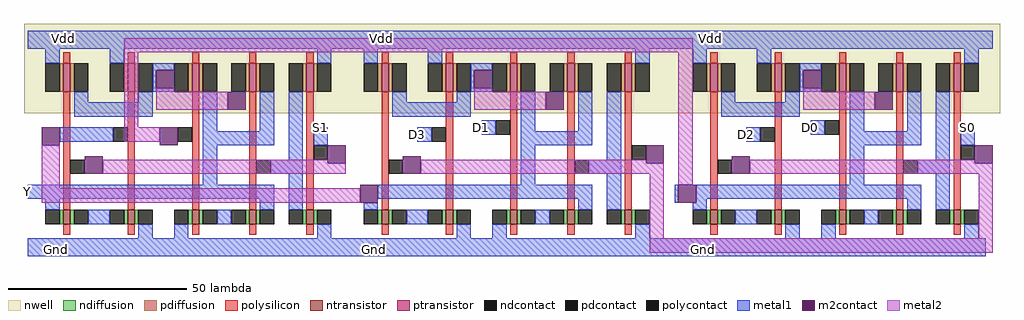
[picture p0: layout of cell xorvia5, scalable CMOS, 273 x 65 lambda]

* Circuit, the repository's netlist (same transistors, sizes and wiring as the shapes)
* SPICE3 file created from xorvia5.ext - technology: scmos

.option scale=0.12u

M1000 Vdd S0 a_419_n126# w_175_n92# pfet w=8 l=2
+  ad=40p pd=26u as=40p ps=26u
M1001 Gnd a_200_n100# a_188_n123# Gnd nfet w=4 l=2
+  ad=20p pd=18u as=20p ps=18u
M1002 a_369_n86# D2 Vdd w_175_n92# pfet w=8 l=2
+  ad=40p pd=26u as=40p ps=26u
M1003 Y a_238_n126# a_224_n123# Gnd nfet w=4 l=2
+  ad=20p pd=18u as=20p ps=18u
M1004 Gnd D2 a_369_n123# Gnd nfet w=4 l=2
+  ad=20p pd=18u as=20p ps=18u
M1005 a_200_n100# D1 a_277_n86# w_175_n92# pfet w=8 l=2
+  ad=40p pd=26u as=40p ps=26u
M1006 Y a_238_n126# a_188_n86# w_175_n92# pfet w=8 l=2
+  ad=40p pd=26u as=40p ps=26u
M1007 a_188_n86# a_200_n100# Vdd w_175_n92# pfet w=8 l=2
+  ad=40p pd=26u as=40p ps=26u
M1008 a_369_n123# S0 a_218_n100# Gnd nfet w=4 l=2
+  ad=20p pd=18u as=20p ps=18u
M1009 a_313_n123# D1 Gnd Gnd nfet w=4 l=2
+  ad=20p pd=18u as=20p ps=18u
M1010 a_218_n100# a_419_n126# a_369_n86# w_175_n92# pfet w=8 l=2
+  ad=40p pd=26u as=40p ps=26u
M1011 a_188_n123# S1 Y Gnd nfet w=4 l=2
+  ad=20p pd=18u as=20p ps=18u
M1012 Y a_218_n100# a_188_n86# w_175_n92# pfet w=8 l=2
+  ad=40p pd=26u as=40p ps=26u
M1013 Gnd S0 a_419_n126# Gnd nfet w=4 l=2
+  ad=20p pd=18u as=20p ps=18u
M1014 a_200_n100# a_327_n126# a_313_n123# Gnd nfet w=4 l=2
+  ad=20p pd=18u as=20p ps=18u
M1015 a_218_n100# D0 a_369_n86# w_175_n92# pfet w=8 l=2
+  ad=40p pd=26u as=40p ps=26u
M1016 Gnd S1 a_238_n126# Gnd nfet w=4 l=2
+  ad=20p pd=18u as=20p ps=18u
M1017 Gnd D3 a_277_n123# Gnd nfet w=4 l=2
+  ad=20p pd=18u as=20p ps=18u
M1018 a_277_n86# S0 Vdd w_175_n92# pfet w=8 l=2
+  ad=40p pd=26u as=40p ps=26u
M1019 a_277_n123# S0 a_200_n100# Gnd nfet w=4 l=2
+  ad=20p pd=18u as=20p ps=18u
M1020 Vdd S0 a_327_n126# w_175_n92# pfet w=8 l=2
+  ad=40p pd=26u as=40p ps=26u
M1021 a_277_n86# D3 Vdd w_175_n92# pfet w=8 l=2
+  ad=40p pd=26u as=40p ps=26u
M1022 a_405_n123# D0 Gnd Gnd nfet w=4 l=2
+  ad=20p pd=18u as=20p ps=18u
M1023 a_188_n86# S1 Vdd w_175_n92# pfet w=8 l=2
+  ad=40p pd=26u as=40p ps=26u
M1024 Gnd S0 a_327_n126# Gnd nfet w=4 l=2
+  ad=20p pd=18u as=20p ps=18u
M1025 a_369_n86# S0 Vdd w_175_n92# pfet w=8 l=2
+  ad=40p pd=26u as=40p ps=26u
M1026 a_224_n123# a_218_n100# Gnd Gnd nfet w=4 l=2
+  ad=20p pd=18u as=20p ps=18u
M1027 Vdd S1 a_238_n126# w_175_n92# pfet w=8 l=2
+  ad=40p pd=26u as=40p ps=26u
M1028 a_200_n100# a_327_n126# a_277_n86# w_175_n92# pfet w=8 l=2
+  ad=40p pd=26u as=40p ps=26u
M1029 a_218_n100# a_419_n126# a_405_n123# Gnd nfet w=4 l=2
+  ad=20p pd=18u as=20p ps=18u


.include tsmc_cmos025

Vs Vdd Gnd 2.5V

Vin1 S0 Gnd PULSE(0, 2.5, 200p, 400p, 400p, 800p, 1600p)
Vin2 D0 Gnd PULSE(0, 0, 200p, 400p, 400p, 800p, 1600p)
Vin3 D1 Gnd PULSE(0, 2.5, 200p, 400p, 400p, 800p, 1600p)

Vin4 S1 Gnd PULSE(0, 2.5, 200p, 400p, 400p, 800p, 1600p)
Vin5 D2 Gnd PULSE(0, 0, 200p, 400p, 400p, 800p, 1600p)
Vin6 D3 Gnd PULSE(0, 2.5, 200p, 400p, 400p, 800p, 1600p)



.TRAN 1p 1600p
.OPTIONS

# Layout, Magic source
magic
tech scmos
<< nwell >>
rect 175 -92 448 -67
<< ntransistor >>
rect 186 -123 188 -119
rect 204 -123 206 -119
rect 222 -123 224 -119
rect 238 -123 240 -119
rect 254 -123 256 -119
rect 275 -123 277 -119
rect 293 -123 295 -119
rect 311 -123 313 -119
rect 327 -123 329 -119
rect 343 -123 345 -119
rect 367 -123 369 -119
rect 385 -123 387 -119
rect 403 -123 405 -119
rect 419 -123 421 -119
rect 435 -123 437 -119
<< ptransistor >>
rect 186 -86 188 -78
rect 204 -86 206 -78
rect 222 -86 224 -78
rect 238 -86 240 -78
rect 254 -86 256 -78
rect 275 -86 277 -78
rect 293 -86 295 -78
rect 311 -86 313 -78
rect 327 -86 329 -78
rect 343 -86 345 -78
rect 367 -86 369 -78
rect 385 -86 387 -78
rect 403 -86 405 -78
rect 419 -86 421 -78
rect 435 -86 437 -78
<< ndiffusion >>
rect 185 -123 186 -119
rect 188 -123 189 -119
rect 203 -123 204 -119
rect 206 -123 207 -119
rect 221 -123 222 -119
rect 224 -123 225 -119
rect 237 -123 238 -119
rect 240 -123 241 -119
rect 253 -123 254 -119
rect 256 -123 257 -119
rect 274 -123 275 -119
rect 277 -123 278 -119
rect 292 -123 293 -119
rect 295 -123 296 -119
rect 310 -123 311 -119
rect 313 -123 314 -119
rect 326 -123 327 -119
rect 329 -123 330 -119
rect 342 -123 343 -119
rect 345 -123 346 -119
rect 366 -123 367 -119
rect 369 -123 370 -119
rect 384 -123 385 -119
rect 387 -123 388 -119
rect 402 -123 403 -119
rect 405 -123 406 -119
rect 418 -123 419 -119
rect 421 -123 422 -119
rect 434 -123 435 -119
rect 437 -123 438 -119
<< pdiffusion >>
rect 185 -86 186 -78
rect 188 -86 189 -78
rect 203 -86 204 -78
rect 206 -86 207 -78
rect 221 -86 222 -78
rect 224 -86 225 -78
rect 237 -86 238 -78
rect 240 -86 241 -78
rect 253 -86 254 -78
rect 256 -86 257 -78
rect 274 -86 275 -78
rect 277 -86 278 -78
rect 292 -86 293 -78
rect 295 -86 296 -78
rect 310 -86 311 -78
rect 313 -86 314 -78
rect 326 -86 327 -78
rect 329 -86 330 -78
rect 342 -86 343 -78
rect 345 -86 346 -78
rect 366 -86 367 -78
rect 369 -86 370 -78
rect 384 -86 385 -78
rect 387 -86 388 -78
rect 402 -86 403 -78
rect 405 -86 406 -78
rect 418 -86 419 -78
rect 421 -86 422 -78
rect 434 -86 435 -78
rect 437 -86 438 -78
<< ndcontact >>
rect 181 -123 185 -119
rect 189 -123 193 -119
rect 199 -123 203 -119
rect 207 -123 211 -119
rect 217 -123 221 -119
rect 225 -123 229 -119
rect 233 -123 237 -119
rect 241 -123 245 -119
rect 249 -123 253 -119
rect 257 -123 261 -119
rect 270 -123 274 -119
rect 278 -123 282 -119
rect 288 -123 292 -119
rect 296 -123 300 -119
rect 306 -123 310 -119
rect 314 -123 318 -119
rect 322 -123 326 -119
rect 330 -123 334 -119
rect 338 -123 342 -119
rect 346 -123 350 -119
rect 362 -123 366 -119
rect 370 -123 374 -119
rect 380 -123 384 -119
rect 388 -123 392 -119
rect 398 -123 402 -119
rect 406 -123 410 -119
rect 414 -123 418 -119
rect 422 -123 426 -119
rect 430 -123 434 -119
rect 438 -123 442 -119
<< pdcontact >>
rect 181 -86 185 -78
rect 189 -86 193 -78
rect 199 -86 203 -78
rect 207 -86 211 -78
rect 217 -86 221 -78
rect 225 -86 229 -78
rect 233 -86 237 -78
rect 241 -86 245 -78
rect 249 -86 253 -78
rect 257 -86 261 -78
rect 270 -86 274 -78
rect 278 -86 282 -78
rect 288 -86 292 -78
rect 296 -86 300 -78
rect 306 -86 310 -78
rect 314 -86 318 -78
rect 322 -86 326 -78
rect 330 -86 334 -78
rect 338 -86 342 -78
rect 346 -86 350 -78
rect 362 -86 366 -78
rect 370 -86 374 -78
rect 380 -86 384 -78
rect 388 -86 392 -78
rect 398 -86 402 -78
rect 406 -86 410 -78
rect 414 -86 418 -78
rect 422 -86 426 -78
rect 430 -86 434 -78
rect 438 -86 442 -78
<< polysilicon >>
rect 186 -78 188 -75
rect 204 -78 206 -75
rect 222 -78 224 -75
rect 238 -78 240 -75
rect 254 -78 256 -75
rect 275 -78 277 -75
rect 293 -78 295 -75
rect 311 -78 313 -75
rect 327 -78 329 -75
rect 343 -78 345 -75
rect 367 -78 369 -75
rect 385 -78 387 -75
rect 403 -78 405 -75
rect 419 -78 421 -75
rect 435 -78 437 -75
rect 186 -119 188 -86
rect 204 -119 206 -86
rect 222 -119 224 -86
rect 238 -119 240 -86
rect 254 -119 256 -86
rect 275 -119 277 -86
rect 293 -119 295 -86
rect 311 -119 313 -86
rect 327 -119 329 -86
rect 343 -119 345 -86
rect 367 -119 369 -86
rect 385 -119 387 -86
rect 403 -119 405 -86
rect 419 -119 421 -86
rect 435 -119 437 -86
rect 186 -126 188 -123
rect 204 -126 206 -123
rect 222 -126 224 -123
rect 238 -126 240 -123
rect 254 -126 256 -123
rect 275 -126 277 -123
rect 293 -126 295 -123
rect 311 -126 313 -123
rect 327 -126 329 -123
rect 343 -126 345 -123
rect 367 -126 369 -123
rect 385 -126 387 -123
rect 403 -126 405 -123
rect 419 -126 421 -123
rect 435 -126 437 -123
<< polycontact >>
rect 200 -100 204 -96
rect 188 -109 192 -105
rect 218 -100 222 -96
rect 240 -109 244 -105
rect 256 -105 260 -101
rect 289 -100 293 -96
rect 277 -109 281 -105
rect 307 -98 311 -94
rect 329 -109 333 -105
rect 345 -105 349 -101
rect 381 -100 385 -96
rect 369 -109 373 -105
rect 399 -98 403 -94
rect 421 -109 425 -105
rect 437 -105 441 -101
<< metal1 >>
rect 176 -74 446 -69
rect 181 -78 185 -74
rect 199 -78 203 -74
rect 257 -78 261 -74
rect 211 -80 217 -78
rect 211 -85 212 -80
rect 211 -86 217 -85
rect 189 -89 193 -86
rect 207 -89 211 -86
rect 189 -93 211 -89
rect 185 -100 200 -96
rect 225 -97 229 -86
rect 241 -97 245 -86
rect 225 -101 245 -97
rect 270 -78 274 -74
rect 288 -78 292 -74
rect 346 -78 350 -74
rect 300 -80 306 -78
rect 300 -85 301 -80
rect 300 -86 306 -85
rect 225 -112 229 -101
rect 249 -105 253 -86
rect 278 -89 282 -86
rect 296 -89 300 -86
rect 278 -93 300 -89
rect 256 -101 260 -96
rect 285 -100 289 -96
rect 303 -98 307 -94
rect 314 -97 318 -86
rect 330 -97 334 -86
rect 314 -101 334 -97
rect 362 -78 366 -74
rect 380 -78 384 -74
rect 438 -78 442 -74
rect 392 -80 398 -78
rect 392 -85 393 -80
rect 392 -86 398 -85
rect 244 -109 253 -105
rect 176 -116 245 -112
rect 181 -119 185 -116
rect 241 -119 245 -116
rect 193 -123 199 -119
rect 207 -127 211 -123
rect 229 -123 233 -119
rect 249 -119 253 -109
rect 314 -112 318 -101
rect 338 -105 342 -86
rect 370 -89 374 -86
rect 388 -89 392 -86
rect 370 -93 392 -89
rect 377 -100 381 -96
rect 395 -98 399 -94
rect 406 -97 410 -86
rect 422 -97 426 -86
rect 406 -101 426 -97
rect 333 -109 342 -105
rect 274 -116 334 -112
rect 270 -119 274 -117
rect 330 -119 334 -116
rect 282 -123 288 -119
rect 217 -127 221 -123
rect 257 -127 261 -123
rect 296 -127 300 -123
rect 318 -123 322 -119
rect 338 -119 342 -109
rect 406 -112 410 -101
rect 430 -105 434 -86
rect 437 -101 441 -96
rect 425 -109 434 -105
rect 357 -117 358 -112
rect 363 -116 426 -112
rect 363 -117 366 -116
rect 362 -119 366 -117
rect 422 -119 426 -116
rect 374 -123 380 -119
rect 306 -127 310 -123
rect 346 -127 350 -123
rect 388 -127 392 -123
rect 410 -123 414 -119
rect 430 -119 434 -109
rect 398 -127 402 -123
rect 438 -127 442 -123
rect 176 -132 444 -127
<< m2contact >>
rect 212 -85 217 -80
rect 180 -101 185 -96
rect 213 -101 218 -96
rect 232 -91 237 -86
rect 301 -85 306 -80
rect 192 -109 197 -104
rect 321 -91 326 -86
rect 393 -85 398 -80
rect 260 -106 265 -101
rect 281 -109 286 -104
rect 413 -91 418 -86
rect 349 -106 354 -101
rect 373 -109 378 -104
rect 269 -117 274 -112
rect 441 -106 446 -101
rect 358 -117 363 -112
<< metal2 >>
rect 203 -75 362 -71
rect 203 -96 207 -75
rect 212 -86 217 -85
rect 301 -86 306 -85
rect 212 -91 232 -86
rect 301 -91 321 -86
rect 203 -100 213 -96
rect 180 -113 185 -101
rect 197 -106 260 -105
rect 197 -109 265 -106
rect 286 -106 349 -105
rect 286 -109 354 -106
rect 180 -117 269 -113
rect 350 -127 354 -109
rect 358 -112 362 -75
rect 393 -86 398 -85
rect 393 -91 413 -86
rect 378 -106 441 -105
rect 378 -109 446 -106
rect 442 -127 446 -109
rect 350 -131 446 -127
<< labels >>
rlabel metal1 273 -130 273 -130 1 Gnd
rlabel metal1 275 -71 275 -71 1 Vdd
rlabel metal1 395 -98 395 -94 1 D0
rlabel metal1 365 -130 365 -130 1 Gnd
rlabel metal1 367 -71 367 -71 1 Vdd
rlabel metal1 176 -116 176 -112 3 Y
rlabel metal1 184 -130 184 -130 1 Gnd
rlabel metal1 186 -71 186 -71 1 Vdd
rlabel metal1 256 -96 260 -96 1 S1
rlabel metal1 437 -96 441 -96 1 S0
rlabel metal1 285 -100 285 -96 1 D3
rlabel metal1 303 -98 303 -94 1 D1
rlabel metal1 377 -100 377 -96 1 D2
<< end >>
